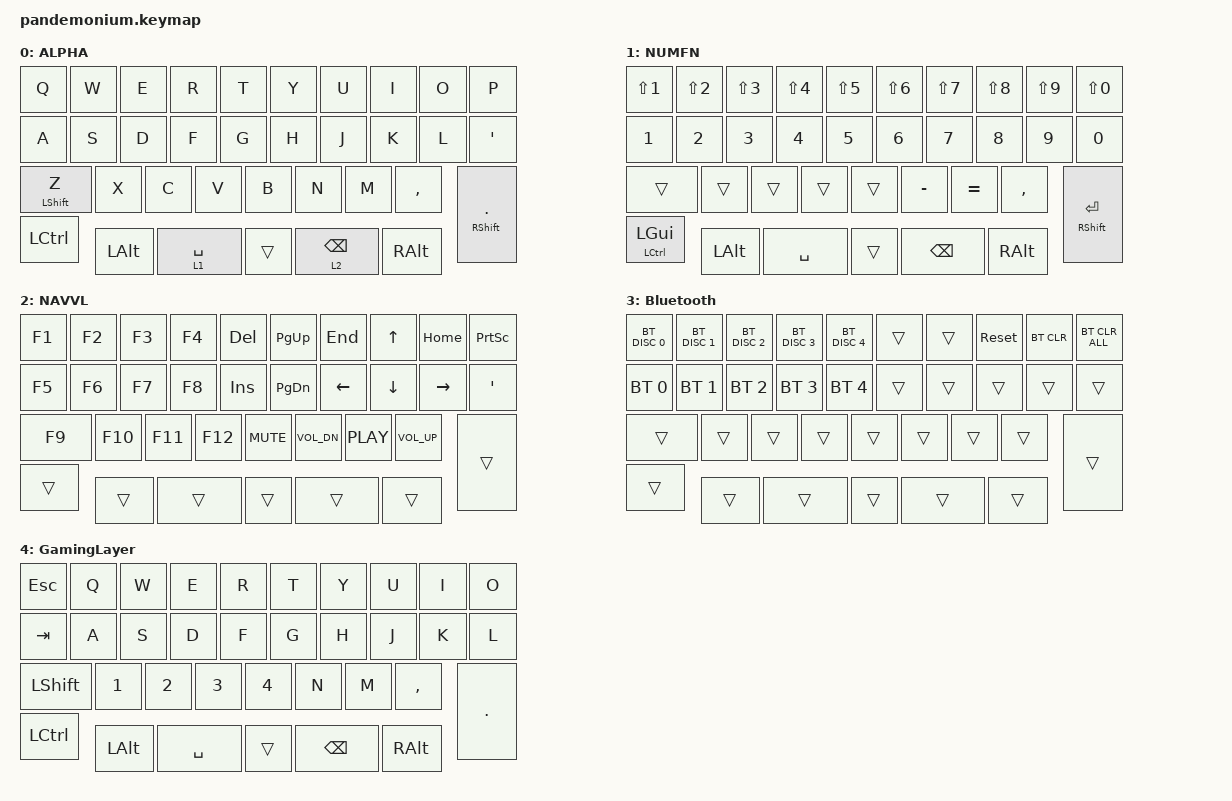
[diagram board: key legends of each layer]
/*
 * Copyright (c) 2020 The ZMK Contributors
 *
 * SPDX-License-Identifier: MIT
 */

#include <behaviors.dtsi>
#include <dt-bindings/zmk/bt.h>
#include <dt-bindings/zmk/keys.h>

#define ALPHA 0
#define NUMFN 1
#define SYMBL 2
#define NAVVL 3

/ {
    behaviors {
        hm: homerow_mods {
            compatible = "zmk,behavior-hold-tap";
            label = "homerow mods";
            #binding-cells = <2>;
            tapping-term-ms = <225>;
            flavor = "tap-preferred";
            bindings = <&kp>, <&kp>;
        };
    };
};

/ {
    macros {
        SECT: SECT {
            label = "SECT";
            compatible = "zmk,behavior-macro";
            #binding-cells = <0>;
            bindings =
                <&macro_tap>,
                <&kp N0 &kp N0 &kp N0 &kp A &kp N7>,
                <&macro_press>,
                <&kp LALT>,
                <&macro_tap>,
                <&kp X>,
                <&macro_release>,
                <&kp LALT>;
        };
    };
};

/ {
    combos {
        compatible = "zmk,combos";

        QuestionMarkSlash {
            bindings = <&kp SLASH>;
            key-positions = <27 28>;
        };

        SemiColon {
            bindings = <&kp SEMICOLON>;
            key-positions = <17 18>;
        };

        TabDN {
            bindings = <&kp TAB>;
            key-positions = <0 1>;
        };

        EscDN {
            bindings = <&kp ESC>;
            key-positions = <2 0>;
        };

        Rbrac {
            bindings = <&kp RIGHT_BRACKET>;
            key-positions = <6 5>;
        };

        Lbrac {
            bindings = <&kp LEFT_BRACKET>;
            key-positions = <3 4>;
        };

        Bslsh {
            bindings = <&kp BACKSLASH>;
            key-positions = <4 5>;
        };

        GravDN {
            bindings = <&kp GRAVE>;
            key-positions = <27 26>;
        };

        Bluetooth {
            bindings = <&mo 3>;
            key-positions = <31 33>;
        };

        GamingLayer {
            bindings = <&tog 4>;
            key-positions = <11 2 13>;
        };

        Gaming1 {
            bindings = <&kp NUMBER_1>;
            key-positions = <11 33>;
        };

        Gaming2 {
            bindings = <&kp NUMBER_2>;
            key-positions = <12 33>;
        };

        Gaming3 {
            bindings = <&kp NUMBER_3>;
            key-positions = <13 33>;
        };

        Gaming4 {
            bindings = <&kp NUMBER_4>;
            key-positions = <14 33>;
        };

        Gaming5 {
            bindings = <&kp NUMBER_5>;
            key-positions = <1 33>;
        };
    };

    keymap {
        compatible = "zmk,keymap";

        ALPHA {
            bindings = <
&kp Q         &kp W  &kp E     &kp R        &kp T   &kp Y       &kp U  &kp I      &kp O  &kp P
&kp A         &kp S  &kp D     &kp F        &kp G   &kp H       &kp J  &kp K      &kp L  &kp APOS
&mt LSHIFT Z  &kp X  &kp C     &kp V        &kp B   &kp N       &kp M  &kp COMMA         &mt RSHIFT DOT
&kp LCTRL            &kp LALT  &lt 1 SPACE  &trans  &lt 2 BSPC         &kp RALT
            >;
        };

        NUMFN {
            bindings = <
&kp LS(NUMBER_1)  &kp LS(NUMBER_2)  &kp LS(NUMBER_3)  &kp LS(NUMBER_4)  &kp LS(N5)  &kp LS(NUMBER_6)  &kp LS(N7)  &kp LS(N8)  &kp LS(N9)  &kp LS(N0)
&kp N1            &kp N2            &kp N3            &kp N4            &kp N5      &kp N6            &kp N7      &kp N8      &kp N9      &kp N0
&trans            &trans            &trans            &trans            &trans      &kp MINUS         &kp EQUAL   &kp COMMA               &mt RSHIFT RETURN
&mt LCTRL LGUI                      &kp LALT          &kp SPACE         &trans      &kp BSPC                      &kp RALT
            >;
        };

        NAVVL {
            bindings = <
&kp F1  &kp F2   &kp F3   &kp F4   &kp DELETE  &kp PG_UP     &kp END     &kp UP        &kp HOME   &kp PSCRN
&kp F5  &kp F6   &kp F7   &kp F8   &kp INSERT  &kp PG_DN     &kp LEFT    &kp DOWN      &kp RIGHT  &kp APOS
&kp F9  &kp F10  &kp F11  &kp F12  &kp C_MUTE  &kp C_VOL_DN  &kp C_PLAY  &kp C_VOL_UP             &trans
&trans           &trans   &trans   &trans      &trans                    &trans
            >;
        };

        Bluetooth {
            bindings = <
&bt BT_DISC 0  &bt BT_DISC 1  &bt BT_DISC 2  &bt BT_DISC 3  &bt BT_DISC 4  &trans  &trans  &sys_reset  &bt BT_CLR  &bt BT_CLR_ALL
&bt BT_SEL 0   &bt BT_SEL 1   &bt BT_SEL 2   &bt BT_SEL 3   &bt BT_SEL 4   &trans  &trans  &trans      &trans      &trans
&trans         &trans         &trans         &trans         &trans         &trans  &trans  &trans                  &trans
&trans                        &trans         &trans         &trans         &trans          &trans
            >;
        };

        GamingLayer {
            bindings = <
&kp ESCAPE  &kp Q         &kp W         &kp E         &kp R         &kp T          &kp Y  &kp U          &kp I  &kp O
&kp TAB     &kp A         &kp S         &kp D         &kp F         &kp G          &kp H  &kp J          &kp K  &kp L
&kp LSHFT   &kp NUMBER_1  &kp NUMBER_2  &kp NUMBER_3  &kp NUMBER_4  &kp N          &kp M  &kp COMMA             &kp PERIOD
&kp LCTRL                 &kp LEFT_ALT  &kp SPACE     &trans        &kp BACKSPACE         &kp RIGHT_ALT
            >;
        };
    };
};
